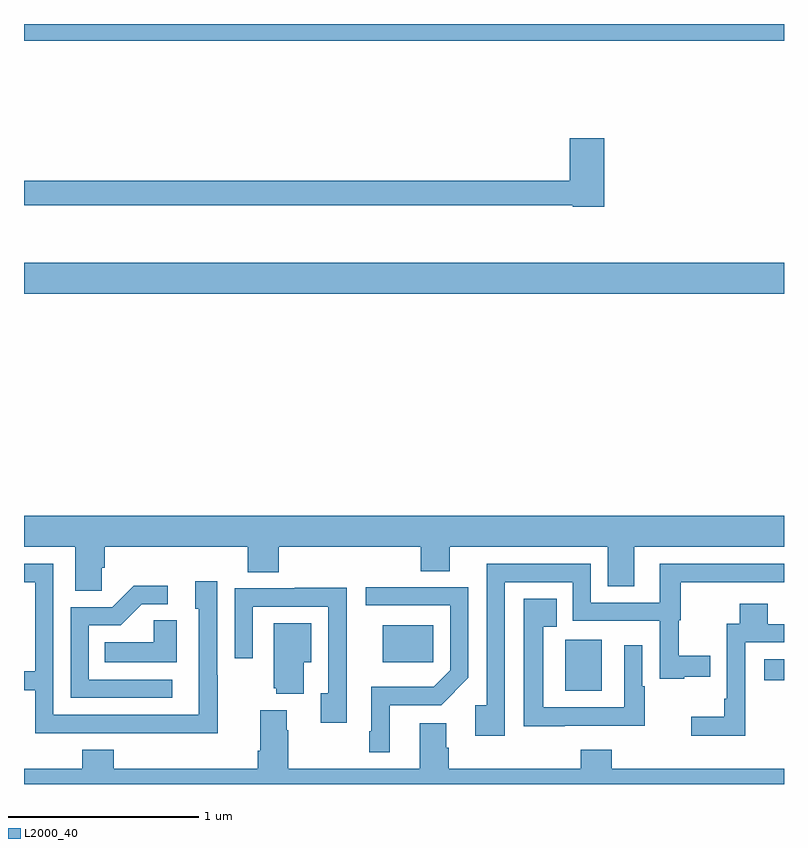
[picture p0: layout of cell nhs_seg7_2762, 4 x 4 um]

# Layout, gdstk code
import gdstk
lib = gdstk.Library(unit=1e-6, precision=1e-09)
def R(c, l, rs):  # rectangles x0, y0, x1, y1
    for r in rs: c.add(gdstk.rectangle(r[:2], r[2:], *l))
def P(c, l, *ps):  # polygons
    for p in ps: c.add(gdstk.Polygon(p, *l))
L2000_40 = (2000, 40)

nhs_seg7_2762 = lib.new_cell('nhs_seg7_2762')
R(nhs_seg7_2762, L2000_40, [(291.848,1034.492,292.042,1034.76), (292.896,1034.546,293,1034.656), (290.888,1034.642,291.153,1034.836), (289,1036.58,293,1036.744), (289,1037.912,293,1038)])
P(nhs_seg7_2762, L2000_40, [(292.055,1037.398),(291.872,1037.398),(291.872,1037.174),(289,1037.174),(289,1037.046),(291.888,1037.046),(291.888,1037.038),(292.055,1037.038)],
  [(289.41,1035.139),(289.424,1035.139),(289.424,1035.248),(290.177,1035.248),(290.177,1035.115),(290.342,1035.115),(290.342,1035.248),(291.089,1035.248),(291.089,1035.121),(291.241,1035.121),(291.241,1035.248),(292.073,1035.248),(292.073,1035.04),(292.213,1035.04),(292.213,1035.248),(293,1035.248),(293,1035.412),(289,1035.412),(289,1035.248),(289.271,1035.248),(289.271,1035.016),(289.41,1035.016)],
  [(291.531,1035.063),(291.888,1035.063),(291.888,1034.859),(292.347,1034.859),(292.347,1034.553),(292.475,1034.553),(292.475,1034.564),(292.612,1034.564),(292.612,1034.674),(292.446,1034.674),(292.446,1034.862),(292.456,1034.862),(292.456,1035.061),(292.679,1035.061),(292.679,1035.063),(293,1035.063),(293,1035.159),(292.346,1035.159),(292.346,1034.955),(291.984,1034.955),(291.984,1035.159),(291.435,1035.159),(291.435,1034.414),(291.375,1034.414),(291.375,1034.253),(291.531,1034.253)],
  [(290.019,1034.573),(290.016,1034.573),(290.016,1035.067),(289.901,1035.067),(289.901,1034.922),(289.92,1034.922),(289.92,1034.364),(289.155,1034.364),(289.155,1035.159),(289,1035.159),(289,1035.063),(289.059,1035.063),(289.059,1034.594),(289,1034.594),(289,1034.493),(289.059,1034.493),(289.059,1034.268),(289.555,1034.268),(289.555,1034.267),(290.019,1034.267)],
  [(289.78,1034.55),(289.341,1034.55),(289.341,1034.835),(289.51,1034.835),(289.621,1034.946),(289.756,1034.946),(289.756,1035.044),(289.577,1035.044),(289.464,1034.931),(289.245,1034.931),(289.245,1034.454),(289.78,1034.454)],
  [(290.926,1034.415),(291.196,1034.415),(291.339,1034.558),(291.339,1035.036),(290.799,1035.036),(290.799,1034.94),(291.243,1034.94),(291.243,1034.598),(291.157,1034.512),(290.828,1034.512),(290.828,1034.278),(290.817,1034.278),(290.817,1034.166),(290.926,1034.166)],
  [(290.699,1035.032),(290.425,1035.032),(290.425,1035.03),(290.109,1035.03),(290.109,1034.661),(290.205,1034.661),(290.205,1034.934),(290.601,1034.934),(290.601,1034.478),(290.561,1034.478),(290.561,1034.322),(290.699,1034.322)],
  [(291.845,1034.307),(292.267,1034.307),(292.267,1034.514),(292.254,1034.514),(292.254,1034.731),(292.158,1034.731),(292.158,1034.403),(291.733,1034.403),(291.733,1034.828),(291.803,1034.828),(291.803,1034.974),(291.629,1034.974),(291.629,1034.305),(291.845,1034.305)],
  [(292.796,1034.745),(293,1034.745),(293,1034.841),(292.915,1034.841),(292.915,1034.95),(292.768,1034.95),(292.768,1034.844),(292.698,1034.844),(292.698,1034.449),(292.686,1034.449),(292.686,1034.353),(292.512,1034.353),(292.512,1034.255),(292.796,1034.255)],
  [(289.804,1034.861),(289.683,1034.861),(289.683,1034.746),(289.426,1034.746),(289.426,1034.642),(289.804,1034.642)],
  [(290.473,1034.642),(290.512,1034.642),(290.512,1034.845),(290.315,1034.845),(290.315,1034.505),(290.327,1034.505),(290.327,1034.474),(290.473,1034.474)],
  [(293,1034.08),(292.094,1034.08),(292.094,1034.179),(291.929,1034.179),(291.929,1034.08),(291.236,1034.08),(291.236,1034.192),(291.223,1034.192),(291.223,1034.32),(291.083,1034.32),(291.083,1034.08),(290.391,1034.08),(290.391,1034.282),(290.383,1034.282),(290.383,1034.389),(290.243,1034.389),(290.243,1034.176),(290.231,1034.176),(290.231,1034.08),(289.472,1034.08),(289.472,1034.179),(289.307,1034.179),(289.307,1034.08),(289,1034.08),(289,1034),(293,1034)])

lib.write_gds('nhs_seg7_2762.gds')
